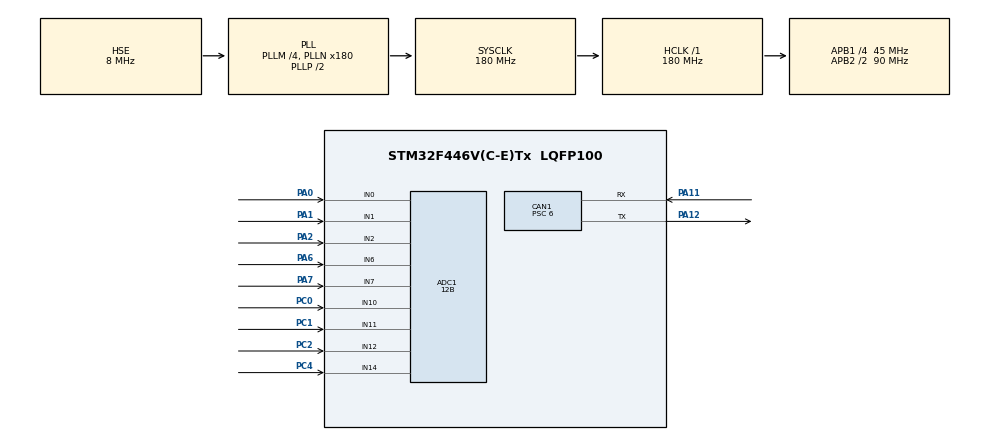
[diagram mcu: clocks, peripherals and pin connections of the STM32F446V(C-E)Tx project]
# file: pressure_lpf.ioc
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ADC1.Channel-0\#ChannelRegularConversion=ADC_CHANNEL_0
ADC1.Channel-1\#ChannelRegularConversion=ADC_CHANNEL_1
ADC1.Channel-2\#ChannelRegularConversion=ADC_CHANNEL_2
ADC1.Channel-3\#ChannelRegularConversion=ADC_CHANNEL_6
ADC1.Channel-4\#ChannelRegularConversion=ADC_CHANNEL_7
ADC1.Channel-5\#ChannelRegularConversion=ADC_CHANNEL_10
ADC1.Channel-6\#ChannelRegularConversion=ADC_CHANNEL_11
ADC1.Channel-7\#ChannelRegularConversion=ADC_CHANNEL_12
ADC1.Channel-8\#ChannelRegularConversion=ADC_CHANNEL_14
ADC1.ClockPrescaler=ADC_CLOCK_SYNC_PCLK_DIV4
ADC1.ContinuousConvMode=DISABLE
ADC1.DMAContinuousRequests=DISABLE
ADC1.DataAlign=ADC_DATAALIGN_RIGHT
ADC1.DiscontinuousConvMode=ENABLE
ADC1.EOCSelection=ADC_EOC_SINGLE_CONV
ADC1.EnableAnalogWatchDog=false
ADC1.ExternalTrigConv=ADC_SOFTWARE_START
ADC1.ExternalTrigConvEdge=ADC_EXTERNALTRIGCONVEDGE_NONE
ADC1.InjNumberOfConversion=0
ADC1.NbrOfConversion=9
ADC1.NbrOfConversionFlag=1
ADC1.Rank-0\#ChannelRegularConversion=1
ADC1.Rank-1\#ChannelRegularConversion=2
ADC1.Rank-2\#ChannelRegularConversion=3
ADC1.Rank-3\#ChannelRegularConversion=4
ADC1.Rank-4\#ChannelRegularConversion=5
ADC1.Rank-5\#ChannelRegularConversion=6
ADC1.Rank-6\#ChannelRegularConversion=7
ADC1.Rank-7\#ChannelRegularConversion=8
ADC1.Rank-8\#ChannelRegularConversion=9
ADC1.Resolution=ADC_RESOLUTION_12B
ADC1.SamplingTime-0\#ChannelRegularConversion=ADC_SAMPLETIME_112CYCLES
ADC1.SamplingTime-1\#ChannelRegularConversion=ADC_SAMPLETIME_112CYCLES
ADC1.SamplingTime-2\#ChannelRegularConversion=ADC_SAMPLETIME_112CYCLES
ADC1.SamplingTime-3\#ChannelRegularConversion=ADC_SAMPLETIME_112CYCLES
ADC1.SamplingTime-4\#ChannelRegularConversion=ADC_SAMPLETIME_112CYCLES
ADC1.SamplingTime-5\#ChannelRegularConversion=ADC_SAMPLETIME_112CYCLES
ADC1.SamplingTime-6\#ChannelRegularConversion=ADC_SAMPLETIME_112CYCLES
ADC1.SamplingTime-7\#ChannelRegularConversion=ADC_SAMPLETIME_112CYCLES
ADC1.SamplingTime-8\#ChannelRegularConversion=ADC_SAMPLETIME_112CYCLES
ADC1.ScanConvMode=ENABLE
ADC1.master=1
CAN1.BS1=CAN_BS1_12TQ
CAN1.BS2=CAN_BS2_2TQ
CAN1.CalculateTimeBit=1999
CAN1.CalculateTimeQuantum=133.33333333333331
CAN1.Prescaler=6
CAN1.SJW=CAN_SJW_4TQ
Mcu.Family=STM32F4
Mcu.Name=STM32F446V(C-E)Tx
Mcu.Package=LQFP100
NVIC.CAN1_RX0_IRQn=true\:0\:0\:false\:false\:true\:true
NVIC.PriorityGroup=NVIC_PRIORITYGROUP_4
NVIC.TIM3_IRQn=true\:0\:0\:false\:false\:true\:true
PA0-WKUP.Signal=ADCx_IN0
PA1.Signal=ADCx_IN1
PA11.Mode=Master
PA11.Signal=CAN1_RX
PA12.Mode=Master
PA12.Signal=CAN1_TX
PA13.Mode=Serial_Wire
PA13.Signal=SYS_JTMS-SWDIO
PA14.Mode=Serial_Wire
PA14.Signal=SYS_JTCK-SWCLK
PA2.Signal=ADCx_IN2
PA6.Signal=ADCx_IN6
PA7.Signal=ADCx_IN7
PC0.Signal=ADCx_IN10
PC1.Signal=ADCx_IN11
PC2.Signal=ADCx_IN12
PC4.Signal=ADCx_IN14
PH0-OSC_IN.Mode=HSE-External-Oscillator
PH0-OSC_IN.Signal=RCC_OSC_IN
PH1-OSC_OUT.Mode=HSE-External-Oscillator
PH1-OSC_OUT.Signal=RCC_OSC_OUT
ProjectManager.HeapSize=0x200
ProjectManager.StackSize=0x400
ProjectManager.TargetToolchain=TrueSTUDIO
RCC.AHBFreq_Value=180000000
RCC.APB1CLKDivider=RCC_HCLK_DIV4
RCC.APB1Freq_Value=45000000
RCC.APB1TimFreq_Value=90000000
RCC.APB2CLKDivider=RCC_HCLK_DIV2
RCC.APB2Freq_Value=90000000
RCC.APB2TimFreq_Value=180000000
RCC.CortexFreq_Value=180000000
RCC.HCLKFreq_Value=180000000
RCC.HSE_VALUE=8000000
RCC.PLLM=4
RCC.PLLN=180
RCC.PLLSourceVirtual=RCC_PLLSOURCE_HSE
RCC.SYSCLKFreq_VALUE=180000000
RCC.SYSCLKSource=RCC_SYSCLKSOURCE_PLLCLK
RCC.USBFreq_Value=180000000
RCC.VCOOutputFreq_Value=360000000
SH.ADCx_IN0.0=ADC1_IN0,IN0
SH.ADCx_IN1.0=ADC1_IN1,IN1
SH.ADCx_IN10.0=ADC1_IN10,IN10
SH.ADCx_IN11.0=ADC1_IN11,IN11
SH.ADCx_IN12.0=ADC1_IN12,IN12
SH.ADCx_IN14.0=ADC1_IN14,IN14
SH.ADCx_IN2.0=ADC1_IN2,IN2
SH.ADCx_IN6.0=ADC1_IN6,IN6
SH.ADCx_IN7.0=ADC1_IN7,IN7
TIM3.CounterMode=TIM_COUNTERMODE_DOWN
TIM3.Period=1000
TIM3.Prescaler=90
TIM3.TIM_MasterOutputTrigger=TIM_TRGO_UPDATE
VP_TIM3_VS_ClockSourceINT.Mode=Internal
board=PARSEC_Pressure

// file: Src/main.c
/**
  ******************************************************************************
  * @file           : main.c
  * @brief          : Main program body
  ******************************************************************************
  ** This notice applies to any and all portions of this file
  * that are not between comment pairs USER CODE BEGIN and
  * USER CODE END. Other portions of this file, whether
  * inserted by the user or by software development tools
  * are owned by their respective copyright owners.
  *
  * COPYRIGHT(c) 2021 STMicroelectronics
  *
  * Redistribution and use in source and binary forms, with or without modification,
  * are permitted provided that the following conditions are met:
  *   1. Redistributions of source code must retain the above copyright notice,
  *      this list of conditions and the following disclaimer.
  *   2. Redistributions in binary form must reproduce the above copyright notice,
  *      this list of conditions and the following disclaimer in the documentation
  *      and/or other materials provided with the distribution.
  *   3. Neither the name of STMicroelectronics nor the names of its contributors
  *      may be used to endorse or promote products derived from this software
  *      without specific prior written permission.
  *
  * THIS SOFTWARE IS PROVIDED BY THE COPYRIGHT HOLDERS AND CONTRIBUTORS "AS IS"
  * AND ANY EXPRESS OR IMPLIED WARRANTIES, INCLUDING, BUT NOT LIMITED TO, THE
  * IMPLIED WARRANTIES OF MERCHANTABILITY AND FITNESS FOR A PARTICULAR PURPOSE ARE
  * DISCLAIMED. IN NO EVENT SHALL THE COPYRIGHT HOLDER OR CONTRIBUTORS BE LIABLE
  * FOR ANY DIRECT, INDIRECT, INCIDENTAL, SPECIAL, EXEMPLARY, OR CONSEQUENTIAL
  * DAMAGES (INCLUDING, BUT NOT LIMITED TO, PROCUREMENT OF SUBSTITUTE GOODS OR
  * SERVICES; LOSS OF USE, DATA, OR PROFITS; OR BUSINESS INTERRUPTION) HOWEVER
  * CAUSED AND ON ANY THEORY OF LIABILITY, WHETHER IN CONTRACT, STRICT LIABILITY,
  * OR TORT (INCLUDING NEGLIGENCE OR OTHERWISE) ARISING IN ANY WAY OUT OF THE USE
  * OF THIS SOFTWARE, EVEN IF ADVISED OF THE POSSIBILITY OF SUCH DAMAGE.
  *
  ******************************************************************************
  */
#include "main.h"
#include "stm32f4xx_hal.h"
#include "adc.h"
#include "can.h"
#include "tim.h"
#include "gpio.h"

/* USER CODE BEGIN PV */
/* Private variables ---------------------------------------------------------*/

/* USER CODE END PV */

void SystemClock_Config(void);

/* USER CODE BEGIN PFP */
/* Private function prototypes -----------------------------------------------*/

/* USER CODE END PFP */

/* USER CODE BEGIN 0 */

// Structs for containing CAN message information
CAN_RxHeaderTypeDef baseCanRxHead;
CAN_TxHeaderTypeDef baseCanTxHead;

// An array containing the running sum for each of the ADC channels
// being monitored. Each index corresponds to one minus the rank of
// that channel in the regular sequence registers. The sequence
// should be set up so that rank 1 corresponds to the port labelled
// "PT 1" on the board silkscreen.
static int convSums[NUM_SENSORS] = {0, 0, 0, 0, 0, 0, 0, 0, 0};

// An array of the number of conversions that have been added to the
// corresponding element of the running sum array defined above. This
// is the number we divide by to get the average from the running sum.
static int numSmpls[NUM_SENSORS] = {0, 0, 0, 0, 0, 0, 0, 0, 0};

// The port number portion of the CAN ID corresponding to the message
// send for the data of each of the sensors, shifted so that the
// field is properly positioned within the CAN ID.
const int portNum[NUM_SENSORS] = {
		0 << PORT_NUM_SHIFT,
		1 << PORT_NUM_SHIFT,
		2 << PORT_NUM_SHIFT,
		3 << PORT_NUM_SHIFT,
		4 << PORT_NUM_SHIFT,
		5 << PORT_NUM_SHIFT,
		6 << PORT_NUM_SHIFT,
		7 << PORT_NUM_SHIFT,
		8 << PORT_NUM_SHIFT
};

// Expected to be used by the timer 3 ISR to determine which of the
// channels to average and send data for over the CAN bus.
static int nextIdxToSend = 0;

/* USER CODE END 0 */

int main(void)
{

  /* MCU Configuration----------------------------------------------------------*/

  /* Reset of all peripherals, Initializes the Flash interface and the Systick. */
  HAL_Init();

  /* Configure the system clock */
  SystemClock_Config();

  /* Initialize all configured peripherals */
  MX_GPIO_Init();
  MX_ADC1_Init();
  MX_CAN1_Init();
  MX_TIM3_Init();
  /* USER CODE BEGIN 2 */
  // Start the IRQ timer on which data is sent over CAN
  HAL_TIM_Base_Start_IT(&htim3);

  // Initialize the CAN peripheral
  HAL_CAN_Init(&hcan1);

  // Configure CAN hardware receive filters
  CAN_filterConfig();

  // Start the CAN module
  HAL_CAN_Start(&hcan1);

  // Start listening for CAN traffic on interrupt
  HAL_CAN_ActivateNotification(&hcan1, CAN_IT_RX_FIFO0_MSG_PENDING);

  // Set transmission parameters that are common to all Tx messages
  baseCanTxHead.IDE = CAN_ID_STD;	// Standard 11-bit ID
  baseCanTxHead.StdId = OWN_CAN_ID;	// CAN ID with port number = 0
  baseCanTxHead.RTR = CAN_RTR_DATA;	// data frame (not a request frame)
  baseCanTxHead.DLC = 2;			// Number of data bytes

  /* USER CODE END 2 */

  /* Infinite loop */
  while (1)
  {

  /* USER CODE BEGIN 3 */
	  for (int i = 0; i < NUM_SENSORS; i++)
	  {
		  numSmpls[i]++;
		  HAL_ADC_Start(&hadc1);
		  HAL_ADC_PollForConversion(&hadc1, HAL_MAX_DELAY);
		  convSums[i] += HAL_ADC_GetValue(&hadc1);

		  // Remove for launch procedures!
		  HAL_Delay(1);	// delay 1 ms to cut down the averaging rate
		  // !!!!!!!!!!!!!!!!!!!!!!!!!!!!!
	  }
  }
  /* USER CODE END 3 */

}

void SystemClock_Config(void)
{

  RCC_OscInitTypeDef RCC_OscInitStruct;
  RCC_ClkInitTypeDef RCC_ClkInitStruct;

    /**Configure the main internal regulator output voltage
    */
  __HAL_RCC_PWR_CLK_ENABLE();

  __HAL_PWR_VOLTAGESCALING_CONFIG(PWR_REGULATOR_VOLTAGE_SCALE1);

    /**Initializes the CPU, AHB and APB busses clocks
    */
  RCC_OscInitStruct.OscillatorType = RCC_OSCILLATORTYPE_HSE;
  RCC_OscInitStruct.HSEState = RCC_HSE_ON;
  RCC_OscInitStruct.PLL.PLLState = RCC_PLL_ON;
  RCC_OscInitStruct.PLL.PLLSource = RCC_PLLSOURCE_HSE;
  RCC_OscInitStruct.PLL.PLLM = 4;
  RCC_OscInitStruct.PLL.PLLN = 180;
  RCC_OscInitStruct.PLL.PLLP = RCC_PLLP_DIV2;
  RCC_OscInitStruct.PLL.PLLQ = 2;
  RCC_OscInitStruct.PLL.PLLR = 2;
  if (HAL_RCC_OscConfig(&RCC_OscInitStruct) != HAL_OK)
  {
    _Error_Handler(__FILE__, __LINE__);
  }

    /**Activate the Over-Drive mode
    */
  if (HAL_PWREx_EnableOverDrive() != HAL_OK)
  {
    _Error_Handler(__FILE__, __LINE__);
  }

    /**Initializes the CPU, AHB and APB busses clocks
    */
  RCC_ClkInitStruct.ClockType = RCC_CLOCKTYPE_HCLK|RCC_CLOCKTYPE_SYSCLK
                              |RCC_CLOCKTYPE_PCLK1|RCC_CLOCKTYPE_PCLK2;
  RCC_ClkInitStruct.SYSCLKSource = RCC_SYSCLKSOURCE_PLLCLK;
  RCC_ClkInitStruct.AHBCLKDivider = RCC_SYSCLK_DIV1;
  RCC_ClkInitStruct.APB1CLKDivider = RCC_HCLK_DIV4;
  RCC_ClkInitStruct.APB2CLKDivider = RCC_HCLK_DIV2;

  if (HAL_RCC_ClockConfig(&RCC_ClkInitStruct, FLASH_LATENCY_5) != HAL_OK)
  {
    _Error_Handler(__FILE__, __LINE__);
  }

    /**Configure the Systick interrupt time
    */
  HAL_SYSTICK_Config(HAL_RCC_GetHCLKFreq()/1000);

    /**Configure the Systick
    */
  HAL_SYSTICK_CLKSourceConfig(SYSTICK_CLKSOURCE_HCLK);

  /* SysTick_IRQn interrupt configuration */
  HAL_NVIC_SetPriority(SysTick_IRQn, 0, 0);
}

/* USER CODE BEGIN 4 */

// Timer 3 timeout interrupt service routine. Gets the average of the running
// sum for an ADC channel and sends it as a CAN message, cycling through
// the channels. Should be called on a 1kHz IRQ for the CAN bus system to
// stay fairly quiet.
void HAL_TIM_PeriodElapsedCallback(TIM_HandleTypeDef *htim)
{
	// Specify the contents of the message we're going to send.

	// Copy the base Tx message header into the header for this
	// message specifically.
	CAN_TxHeaderTypeDef msgCanTxHead =  baseCanTxHead;
	// Write the port ID for this sensor to the appropriate field
	// of the CAN ID.
	msgCanTxHead.StdId = OWN_CAN_ID | portNum[nextIdxToSend];

	// Send the average for this channel over the CAN bus
	int avgConv = convSums[nextIdxToSend] / numSmpls[nextIdxToSend];
	uint8_t data[2];
	data[1] = (avgConv >> 8) & 0xFF;
	data[0] = avgConv & 0xFF;

	// Just a buffer where AddTxMessage can return a code for which Tx
	// mailbox it added the message to. We don't care what it is.
	uint32_t mailbox;

	HAL_CAN_AddTxMessage(&hcan1, &msgCanTxHead, data, &mailbox);

	// Reset the running sum and number of samples to zero
	convSums[nextIdxToSend] = 0;
	numSmpls[nextIdxToSend] = 0;

	// Advance position in the sensor running average arrays for the
	// next time this function is called.
	nextIdxToSend = (nextIdxToSend + 1) % NUM_SENSORS;
}

/* USER CODE END 4 */

void _Error_Handler(char *file, int line)
{
  while(1)
  {
  }
}

/************************ (C) COPYRIGHT STMicroelectronics *****END OF FILE****/
